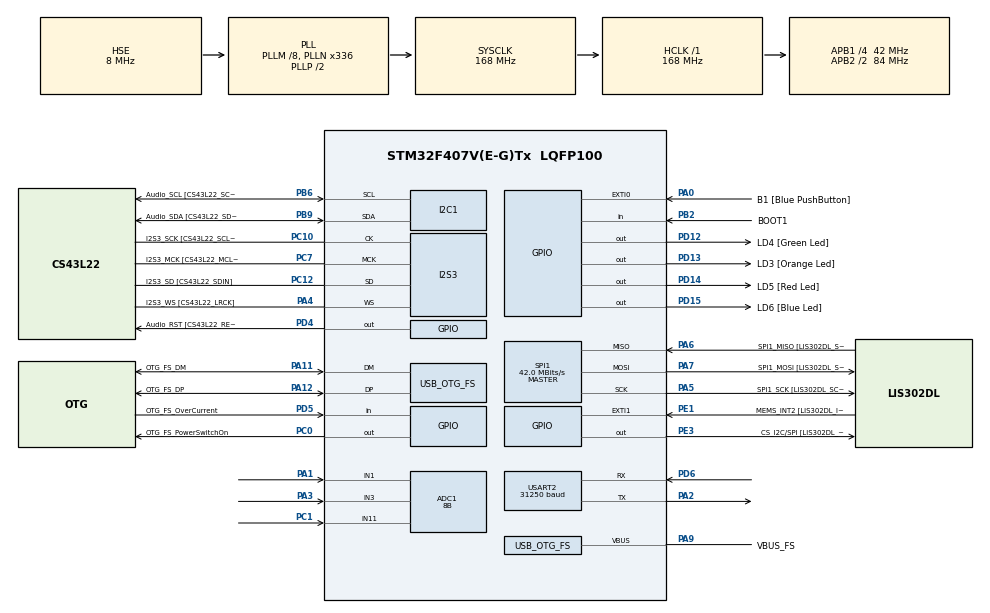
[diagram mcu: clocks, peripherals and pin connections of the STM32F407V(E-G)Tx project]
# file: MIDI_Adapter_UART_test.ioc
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ADC1.Channel-0\#ChannelRegularConversion=ADC_CHANNEL_1
ADC1.Channel-1\#ChannelRegularConversion=ADC_CHANNEL_3
ADC1.Channel-2\#ChannelRegularConversion=ADC_CHANNEL_11
ADC1.ContinuousConvMode=DISABLE
ADC1.NbrOfConversion=3
ADC1.NbrOfConversionFlag=1
ADC1.Rank-0\#ChannelRegularConversion=1
ADC1.Rank-1\#ChannelRegularConversion=2
ADC1.Rank-2\#ChannelRegularConversion=3
ADC1.Resolution=ADC_RESOLUTION_8B
ADC1.SamplingTime-0\#ChannelRegularConversion=ADC_SAMPLETIME_84CYCLES
ADC1.SamplingTime-1\#ChannelRegularConversion=ADC_SAMPLETIME_84CYCLES
ADC1.SamplingTime-2\#ChannelRegularConversion=ADC_SAMPLETIME_84CYCLES
ADC1.ScanConvMode=ENABLE
ADC1.master=1
Dma.ADC1.1.Direction=DMA_PERIPH_TO_MEMORY
Dma.ADC1.1.FIFOMode=DMA_FIFOMODE_DISABLE
Dma.ADC1.1.Instance=DMA2_Stream0
Dma.ADC1.1.MemDataAlignment=DMA_MDATAALIGN_HALFWORD
Dma.ADC1.1.MemInc=DMA_MINC_ENABLE
Dma.ADC1.1.Mode=DMA_CIRCULAR
Dma.ADC1.1.PeriphDataAlignment=DMA_PDATAALIGN_HALFWORD
Dma.ADC1.1.PeriphInc=DMA_PINC_DISABLE
Dma.ADC1.1.Priority=DMA_PRIORITY_LOW
Dma.Request0=SPI3_TX
Dma.Request1=ADC1
Dma.Request2=USART2_RX
Dma.SPI3_TX.0.Direction=DMA_MEMORY_TO_PERIPH
Dma.SPI3_TX.0.FIFOMode=DMA_FIFOMODE_DISABLE
Dma.SPI3_TX.0.Instance=DMA1_Stream7
Dma.SPI3_TX.0.MemDataAlignment=DMA_MDATAALIGN_HALFWORD
Dma.SPI3_TX.0.MemInc=DMA_MINC_ENABLE
Dma.SPI3_TX.0.Mode=DMA_CIRCULAR
Dma.SPI3_TX.0.PeriphDataAlignment=DMA_PDATAALIGN_HALFWORD
Dma.SPI3_TX.0.PeriphInc=DMA_PINC_DISABLE
Dma.SPI3_TX.0.Priority=DMA_PRIORITY_VERY_HIGH
Dma.USART2_RX.2.Direction=DMA_PERIPH_TO_MEMORY
Dma.USART2_RX.2.FIFOMode=DMA_FIFOMODE_DISABLE
Dma.USART2_RX.2.Instance=DMA1_Stream5
Dma.USART2_RX.2.MemDataAlignment=DMA_MDATAALIGN_BYTE
Dma.USART2_RX.2.MemInc=DMA_MINC_ENABLE
Dma.USART2_RX.2.Mode=DMA_CIRCULAR
Dma.USART2_RX.2.PeriphDataAlignment=DMA_PDATAALIGN_BYTE
Dma.USART2_RX.2.PeriphInc=DMA_PINC_DISABLE
Dma.USART2_RX.2.Priority=DMA_PRIORITY_LOW
I2S3.AudioFreq=I2S_AUDIOFREQ_48K
I2S3.AudioFreq-Half_Duplex_Master=I2S_AUDIOFREQ_96K
I2S3.ErrorAudioFreq=0.19 %
I2S3.ErrorAudioFreq-Half_Duplex_Master=0.8 %
I2S3.FullDuplexMode=I2S_FULLDUPLEXMODE_DISABLE
I2S3.Instance=SPI$Index
I2S3.RealAudioFreq=48.095 KHz
I2S3.RealAudioFreq-Half_Duplex_Master=96.774 KHz
I2S3.VirtualMode=I2S_MODE_MASTER
Mcu.Family=STM32F4
Mcu.Name=STM32F407V(E-G)Tx
Mcu.Package=LQFP100
NVIC.ADC_IRQn=true\:1\:0\:true\:false\:true\:true\:true\:true
NVIC.DMA1_Stream5_IRQn=true\:0\:0\:true\:false\:true\:false\:true\:true
NVIC.DMA1_Stream7_IRQn=true\:0\:0\:false\:false\:true\:false\:true\:true
NVIC.DMA2_Stream0_IRQn=true\:0\:0\:false\:false\:true\:false\:true\:true
NVIC.OTG_FS_IRQn=true\:0\:0\:false\:false\:true\:true\:true\:true
NVIC.PriorityGroup=NVIC_PRIORITYGROUP_4
NVIC.SPI3_IRQn=true\:0\:0\:false\:false\:true\:true\:true\:true
PA0-WKUP.GPIO_Label=B1 [Blue PushButton]
PA0-WKUP.GPIO_ModeDefaultEXTI=GPIO_MODE_EVT_RISING
PA0-WKUP.GPIO_PuPd=GPIO_NOPULL
PA0-WKUP.Signal=GPXTI0
PA1.Signal=ADCx_IN1
PA10.GPIO_Label=OTG_FS_ID
PA10.GPIO_Mode=GPIO_MODE_AF_PP
PA10.GPIO_PuPd=GPIO_NOPULL
PA10.GPIO_Speed=GPIO_SPEED_FREQ_LOW
PA10.Signal=USB_OTG_FS_ID
PA11.GPIO_Label=OTG_FS_DM
PA11.GPIO_Mode=GPIO_MODE_AF_PP
PA11.GPIO_PuPd=GPIO_NOPULL
PA11.GPIO_Speed=GPIO_SPEED_FREQ_LOW
PA11.Mode=Device_Only
PA11.Signal=USB_OTG_FS_DM
PA12.GPIO_Label=OTG_FS_DP
PA12.GPIO_Mode=GPIO_MODE_AF_PP
PA12.GPIO_PuPd=GPIO_NOPULL
PA12.GPIO_Speed=GPIO_SPEED_FREQ_LOW
PA12.Mode=Device_Only
PA12.Signal=USB_OTG_FS_DP
PA13.GPIO_Label=SWDIO
PA13.Mode=Trace_Asynchronous_SW
PA13.Signal=SYS_JTMS-SWDIO
PA14.GPIO_Label=SWCLK
PA14.Mode=Trace_Asynchronous_SW
PA14.Signal=SYS_JTCK-SWCLK
PA2.Mode=Asynchronous
PA2.Signal=USART2_TX
PA3.Signal=ADCx_IN3
PA4.GPIO_Label=I2S3_WS [CS43L22_LRCK]
PA4.GPIO_Mode=GPIO_MODE_AF_PP
PA4.GPIO_PuPd=GPIO_NOPULL
PA4.GPIO_Speed=GPIO_SPEED_FREQ_LOW
PA4.Mode=Half_Duplex_Master
PA4.Signal=I2S3_WS
PA5.GPIO_Label=SPI1_SCK [LIS302DL_SCL/SPC]
PA5.GPIO_Mode=GPIO_MODE_AF_PP
PA5.GPIO_PuPd=GPIO_NOPULL
PA5.GPIO_Speed=GPIO_SPEED_FREQ_LOW
PA5.Mode=Full_Duplex_Master
PA5.Signal=SPI1_SCK
PA6.GPIO_Label=SPI1_MISO [LIS302DL_SDO]
PA6.GPIO_Mode=GPIO_MODE_AF_PP
PA6.GPIO_PuPd=GPIO_NOPULL
PA6.GPIO_Speed=GPIO_SPEED_FREQ_LOW
PA6.Mode=Full_Duplex_Master
PA6.Signal=SPI1_MISO
PA7.GPIO_Label=SPI1_MOSI [LIS302DL_SDA/SDI/SDO]
PA7.GPIO_Mode=GPIO_MODE_AF_PP
PA7.GPIO_PuPd=GPIO_NOPULL
PA7.GPIO_Speed=GPIO_SPEED_FREQ_LOW
PA7.Mode=Full_Duplex_Master
PA7.Signal=SPI1_MOSI
PA9.GPIO_Label=VBUS_FS
PA9.GPIO_Mode=GPIO_MODE_INPUT
PA9.GPIO_PuPd=GPIO_NOPULL
PA9.Mode=Activate_VBUS
PA9.Signal=USB_OTG_FS_VBUS
PB10.GPIO_Label=CLK_IN [MP45DT02_CLK]
PB10.GPIO_Mode=GPIO_MODE_AF_PP
PB10.GPIO_PuPd=GPIO_NOPULL
PB10.GPIO_Speed=GPIO_SPEED_FREQ_LOW
PB10.Signal=I2S2_CK
PB2.GPIO_Label=BOOT1
PB2.GPIO_Mode=GPIO_MODE_INPUT
PB2.GPIO_PuPd=GPIO_NOPULL
PB2.Signal=GPIO_Input
PB3.GPIO_Label=SWO
PB3.Mode=Trace_Asynchronous_SW
PB3.Signal=SYS_JTDO-SWO
PB6.GPIO_Label=Audio_SCL [CS43L22_SCL]
PB6.GPIO_Mode=GPIO_MODE_AF_OD
PB6.GPIO_Pu=GPIO_PULLUP
PB6.GPIO_PuPd=GPIO_NOPULL
PB6.GPIO_Speed=GPIO_SPEED_FREQ_LOW
PB6.Mode=I2C
PB6.Signal=I2C1_SCL
PB9.GPIO_Label=Audio_SDA [CS43L22_SDA]
PB9.GPIO_Mode=GPIO_MODE_AF_OD
PB9.GPIO_Pu=GPIO_PULLUP
PB9.GPIO_PuPd=GPIO_NOPULL
PB9.GPIO_Speed=GPIO_SPEED_FREQ_LOW
PB9.Mode=I2C
PB9.Signal=I2C1_SDA
PC0.GPIO_Label=OTG_FS_PowerSwitchOn
PC0.GPIO_PuPd=GPIO_NOPULL
PC0.GPIO_Speed=GPIO_SPEED_FREQ_LOW
PC0.PinState=GPIO_PIN_SET
PC0.Signal=GPIO_Output
PC1.Signal=ADCx_IN11
PC10.GPIO_Label=I2S3_SCK [CS43L22_SCLK]
PC10.GPIO_Mode=GPIO_MODE_AF_PP
PC10.GPIO_PuPd=GPIO_NOPULL
PC10.GPIO_Speed=GPIO_SPEED_FREQ_LOW
PC10.Mode=Half_Duplex_Master
PC10.Signal=I2S3_CK
PC12.GPIO_Label=I2S3_SD [CS43L22_SDIN]
PC12.GPIO_Mode=GPIO_MODE_AF_PP
PC12.GPIO_PuPd=GPIO_NOPULL
PC12.GPIO_Speed=GPIO_SPEED_FREQ_LOW
PC12.Mode=Half_Duplex_Master
PC12.Signal=I2S3_SD
PC14-OSC32_IN.GPIO_Label=PC14-OSC32_IN
PC14-OSC32_IN.Mode=LSE-External-Oscillator
PC14-OSC32_IN.Signal=RCC_OSC32_IN
PC15-OSC32_OUT.GPIO_Label=PC15-OSC32_OUT
PC15-OSC32_OUT.Mode=LSE-External-Oscillator
PC15-OSC32_OUT.Signal=RCC_OSC32_OUT
PC3.GPIO_Label=PDM_OUT [MP45DT02_DOUT]
PC3.GPIO_Mode=GPIO_MODE_AF_PP
PC3.GPIO_PuPd=GPIO_NOPULL
PC3.GPIO_Speed=GPIO_SPEED_FREQ_LOW
PC3.Signal=I2S2_SD
PC7.GPIO_Label=I2S3_MCK [CS43L22_MCLK]
PC7.GPIO_Mode=GPIO_MODE_AF_PP
PC7.GPIO_PuPd=GPIO_NOPULL
PC7.GPIO_Speed=GPIO_SPEED_FREQ_LOW
PC7.Mode=Master_Clock_Activated
PC7.Signal=I2S3_MCK
PD12.GPIO_Label=LD4 [Green Led]
PD12.GPIO_PuPd=GPIO_NOPULL
PD12.GPIO_Speed=GPIO_SPEED_FREQ_LOW
PD12.Signal=GPIO_Output
PD13.GPIO_Label=LD3 [Orange Led]
PD13.GPIO_PuPd=GPIO_NOPULL
PD13.GPIO_Speed=GPIO_SPEED_FREQ_LOW
PD13.Signal=GPIO_Output
PD14.GPIO_Label=LD5 [Red Led]
PD14.GPIO_PuPd=GPIO_NOPULL
PD14.GPIO_Speed=GPIO_SPEED_FREQ_LOW
PD14.Signal=GPIO_Output
PD15.GPIO_Label=LD6 [Blue Led]
PD15.GPIO_PuPd=GPIO_NOPULL
PD15.GPIO_Speed=GPIO_SPEED_FREQ_LOW
PD15.Signal=GPIO_Output
PD2.Signal=UART5_RX
PD4.GPIO_Label=Audio_RST [CS43L22_RESET]
PD4.GPIO_PuPd=GPIO_PULLUP
PD4.GPIO_Speed=GPIO_SPEED_FREQ_LOW
PD4.Signal=GPIO_Output
PD5.GPIO_Label=OTG_FS_OverCurrent
PD5.GPIO_Mode=GPIO_MODE_INPUT
PD5.GPIO_PuPd=GPIO_NOPULL
PD5.Signal=GPIO_Input
PD6.Mode=Asynchronous
PD6.Signal=USART2_RX
PE1.GPIO_Label=MEMS_INT2 [LIS302DL_INT2]
PE1.GPIO_ModeDefaultEXTI=GPIO_MODE_EVT_RISING
PE1.GPIO_PuPd=GPIO_NOPULL
PE1.Signal=GPXTI1
PE3.GPIO_Label=CS_I2C/SPI [LIS302DL_CS_I2C/SPI]
PE3.GPIO_PuPd=GPIO_NOPULL
PE3.GPIO_Speed=GPIO_SPEED_FREQ_LOW
PE3.Signal=GPIO_Output
PH0-OSC_IN.GPIO_Label=PH0-OSC_IN
PH0-OSC_IN.Mode=HSE-External-Oscillator
PH0-OSC_IN.Signal=RCC_OSC_IN
PH1-OSC_OUT.GPIO_Label=PH1-OSC_OUT
PH1-OSC_OUT.Mode=HSE-External-Oscillator
PH1-OSC_OUT.Signal=RCC_OSC_OUT
ProjectManager.HeapSize=0x200
ProjectManager.StackSize=0x400
ProjectManager.TargetToolchain=STM32CubeIDE
RCC.48MHZClocksFreq_Value=48000000
RCC.AHBFreq_Value=168000000
RCC.APB1CLKDivider=RCC_HCLK_DIV4
RCC.APB1Freq_Value=42000000
RCC.APB1TimFreq_Value=84000000
RCC.APB2CLKDivider=RCC_HCLK_DIV2
RCC.APB2Freq_Value=84000000
RCC.APB2TimFreq_Value=168000000
RCC.CortexFreq_Value=168000000
RCC.HCLKFreq_Value=168000000
RCC.HSE_VALUE=8000000
RCC.HSI_VALUE=16000000
RCC.PLLI2SN=197
RCC.PLLM=8
RCC.PLLN=336
RCC.PLLQ=7
RCC.SYSCLKFreq_VALUE=168000000
RCC.SYSCLKSource=RCC_SYSCLKSOURCE_PLLCLK
RCC.VCOOutputFreq_Value=336000000
SH.ADCx_IN1.0=ADC1_IN1,IN1
SH.ADCx_IN11.0=ADC1_IN11,IN11
SH.ADCx_IN3.0=ADC1_IN3,IN3
SPI1.BaudRatePrescaler=SPI_BAUDRATEPRESCALER_2
SPI1.BaudRatePrescaler-Full_Duplex_Master=SPI_BAUDRATEPRESCALER_2
SPI1.CalculateBaudRate=42.0 MBits/s
SPI1.CalculateBaudRate-Full_Duplex_Master=42.0 MBits/s
SPI1.Direction=SPI_DIRECTION_2LINES
SPI1.Mode=SPI_MODE_MASTER
SPI1.Mode-Full_Duplex_Master=SPI_MODE_MASTER
SPI1.VirtualType=VM_MASTER
USART2.BaudRate=31250
USART2.VirtualMode=VM_ASYNC
USB_OTG_FS.VirtualMode=Device_Only
board=STM32F407G-DISC1

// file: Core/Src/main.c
/* USER CODE BEGIN Header */
/**
  ******************************************************************************
  * @file           : main.c
  * @brief          : Main program body
  ******************************************************************************
  * @attention
  *
  * Copyright (c) 2025 STMicroelectronics.
  * All rights reserved.
  *
  * This software is licensed under terms that can be found in the LICENSE file
  * in the root directory of this software component.
  * If no LICENSE file comes with this software, it is provided AS-IS.
  *
  ******************************************************************************
  */
/* USER CODE END Header */
#include "main.h"

/* USER CODE BEGIN Includes */
#include <stdio.h>
#include <math.h>   // For fminf, fmaxf

/* USER CODE END Includes */

/* USER CODE BEGIN PD */
#define RX_BUFFER_SIZE 256
#define MIDI_PITCHES_COUNT 128
#define FS 48095.0f //see .ioc see for 48 kHz inaccuracy WAS 48000

typedef struct {
    uint8_t  vel[MIDI_PITCHES_COUNT];            // MIDI standard velocity (0-127) for each pitch
    uint8_t  released[MIDI_PITCHES_COUNT];       // True if the note has been released, false if pressed for each pitch
    uint32_t ticks_pressed[MIDI_PITCHES_COUNT];  // Ticks elapsed since the note was pressed for each pitch
    uint32_t ticks_released[MIDI_PITCHES_COUNT]; // Ticks elapsed since the note was released for each pitch
    float    env[MIDI_PITCHES_COUNT];            // Current envelope level (e.g., 0.0 to 1.0) for each pitch
} Notes; // Renamed to Notes (plural) as it now holds data for multiple notes
/* USER CODE END PD */

ADC_HandleTypeDef hadc1;
DMA_HandleTypeDef hdma_adc1;

I2C_HandleTypeDef hi2c1;

I2S_HandleTypeDef hi2s3;
DMA_HandleTypeDef hdma_spi3_tx;

SPI_HandleTypeDef hspi1;

UART_HandleTypeDef huart2;
DMA_HandleTypeDef hdma_usart2_rx;

PCD_HandleTypeDef hpcd_USB_OTG_FS;

/* USER CODE BEGIN PV */
uint8_t RxUART[RX_BUFFER_SIZE];
volatile uint16_t OldPos = 0;
typedef enum {
    LAST_READ_STATUS,
    LAST_READ_PITCH,
    LAST_READ_VELOCITY,
    LAST_READ_PEDAL,
    LAST_READ_NONE // Good to have an initial/default state
} lastRead_t; // Using a typedef for easier use, and _t suffix is common for enums/structs
lastRead_t currentLastRead = LAST_READ_NONE;
uint8_t inNoteEvent = 0;
uint16_t currentMIDIPitch = 255; //actual values are 0-127
uint16_t MIDIptr = 253;
const int N_voices = 8;  // The number of voices to process

Notes my_midi_notes; // Declare an instance of the Notes struct

/* USER CODE END PV */

void SystemClock_Config(void);
static void MX_GPIO_Init(void);
static void MX_DMA_Init(void);
static void MX_I2C1_Init(void);
static void MX_I2S3_Init(void);
static void MX_SPI1_Init(void);
static void MX_USB_OTG_FS_PCD_Init(void);
static void MX_ADC1_Init(void);
static void MX_USART2_UART_Init(void);

/* USER CODE BEGIN 0 */
void Notes_init(Notes* notes_system) {
    // Loop through all possible MIDI pitches and set their initial state
    for (int i = 0; i < MIDI_PITCHES_COUNT; i++) {
        notes_system->vel[i] = 0;              // No velocity (note off)
        notes_system->released[i] = 0;         //
        notes_system->ticks_pressed[i] = 0;    // No ticks yet
        notes_system->ticks_released[i] = 0;   // No ticks yet
        notes_system->env[i] = 0.0f;           // Envelope at zero
    }
}

void clear_note(Notes* notes_system, uint8_t note_index) {
    // Basic validation to ensure the index is within bounds
    if (note_index < MIDI_PITCHES_COUNT) {
        notes_system->vel[note_index] = 0;              // Set velocity to 0 (note off)
        notes_system->released[note_index] = 0;         //
        notes_system->ticks_pressed[note_index] = 0;    // Reset ticks since pressed
        notes_system->ticks_released[note_index] = 0;   // Reset ticks since released
        notes_system->env[note_index] = 0.0f;           // Reset envelope level to 0.0
    } else {

        // Optional: Add an error handling or logging mechanism if an invalid index is provided
        // For embedded systems, you might have a dedicated error LED, a serial print, or nothing at all
        // depending on your error handling strategy.
        printf(stderr, "Error: clear_note called with invalid note_index: %u\n", note_index);
    }
}

/**
 * @brief Adds (activates) a note in the Notes tracking system with a given pitch and velocity.
 *
 * This function simulates a MIDI "Note On" event. It sets the velocity,
 * marks the note as pressed, and resets relevant envelope/timing parameters
 * for the specified pitch.
 *
 * @param notes_system A pointer to the Notes struct holding the state of all MIDI pitches.
 * @param pitch The MIDI pitch number (0-127) of the note to activate.
 * @param velocity The velocity value (0-127) for the note.
 */
void add_note(Notes* notes_system, uint8_t pitch, uint8_t velocity) {
    // Basic validation for the pitch
    if (notes_system == NULL) {
        printf("Error: NULL Notes system pointer passed to add_note.\r\n");
        return;
    }
    if (pitch >= MIDI_PITCHES_COUNT) {
        printf("Error: add_note called with invalid pitch: %u (max %u)\r\n", pitch, MIDI_PITCHES_COUNT - 1);
        return;
    }

    // A velocity of 0 is typically interpreted as a "Note Off" event.
    // While this function is named "add_note", it's good practice to handle
    // velocity 0 either by calling clear_note or just returning.
    if (velocity == 0) {
        // If velocity is 0, treat it as a note off (set released flag)
        // or clear the note entirely. For simplicity here, we'll mark it released
        // and let updateNoteEnvelope handle the decay.
        notes_system->released[pitch] = 1;
        // Don't actually set the vel[pitch] to 0! That variable tracks what was :')
        return;
    }

    // Set the velocity for the specified pitch
    notes_system->vel[pitch] = velocity;
    // Mark the note as pressed (not released)
    notes_system->released[pitch] = 0;
    // Reset ticks related to pressing/releasing for a new press
    notes_system->ticks_pressed[pitch] = 0;
    notes_system->ticks_released[pitch] = 0; // Not applicable for a pressed note
    // Reset envelope to 0.0f, as it will start its attack phase
    notes_system->env[pitch] = 0.0f;
}

/**
 * @brief Updates the envelope level for active notes within the Notes tracking system.
 *
 * This function iterates over the `Notes` arrays from highest to lowest pitch.
 * For the first N_voices (where velocity is not 0), it applies the ADSR envelope logic
 * (simplified to AD-Release here) to update the 'env' level for that specific note.
 *
 * @param notes_system A pointer to the Notes struct holding the state of all MIDI pitches.
 * @param attack_time_sec The duration of the attack phase in seconds.
 * @param decay_k The exponential decay factor for the decay phase (0.0 to 1.0, typically < 1.0).
 * @param release_k The exponential release factor for the release phase (0.0 to 1.0, typically < 1.0).
 */
void updateNoteEnvelope(Notes* notes_system, float attack_time_sec, float decay_k, float release_k) {
    // Ensure notes_system is not NULL
    if (notes_system == NULL) {
        printf("Error: NULL Notes system pointer passed to updateNoteEnvelope.\r\n");
        return;
    }

    // Calculate attack duration in ticks (common for all notes)
    // Ensure FS is not zero to prevent division by zero in attack_increment_per_tick
    float attack_duration_ticks = (FS > 0.0f) ? (attack_time_sec * FS) : 1.0f; // Prevent div by zero if FS is 0

    int voices_processed = 0; // Counter for active voices processed

    // Iterate over the arrays in descending pitch order
    for (int pitch = MIDI_PITCHES_COUNT - 1; pitch >= 0; pitch--) {
        // Only process notes that have velocity (are "on") and we haven't hit N_voices limit
        if (notes_system->vel[pitch] != 0) {
            // We only care about the first N_voices with non-zero velocity
            if (voices_processed >= N_voices) {
                // If this note is still active (not released and velocity > 0)
                // but we've already hit our voice limit, we might want to
                // consider stopping its envelope or giving it a very fast release.
                // For this implementation, we'll just skip it for envelope processing
                // if it's beyond N_voices and has velocity.
                // However, if it's already in release phase, we *should* continue processing it
                // until its envelope decays to 0. So, we adjust the condition here.
//                if (notes_system->released[pitch] == 0) { // If it's a *pressed* note beyond N_voices
//                    continue; // Skip processing its envelope as it's not a primary voice
//                }
                // If it's a released note (vel!=0, but released==1), we still process it
                // to allow its envelope to decay, regardless of N_voices.
                // The N_voices limit primarily applies to "active, pressed" notes.
            }

            // Check if the note is currently pressed (not released)
            if (notes_system->released[pitch] == 0) {
                notes_system->ticks_pressed[pitch]++; // Increment ticks since press

                // Attack Phase: if ticks_pressed is within the attack duration
                if (notes_system->ticks_pressed[pitch] <= attack_duration_ticks) {
                    // Calculate the linear increment per tick
                    if (attack_duration_ticks > 0.0f) {
                        float attack_increment_per_tick = 1.0f / attack_duration_ticks;
                        notes_system->env[pitch] += attack_increment_per_tick;
                    } else { // Instant attack
                        notes_system->env[pitch] = 1.0f;
                    }
                    // Clip the envelope level at 1.0 (maximum)
                    notes_system->env[pitch] = fminf(notes_system->env[pitch], 1.0f);
                }
                // Decay Phase: if attack is finished and note is still pressed
                else {
                    notes_system->env[pitch] *= decay_k;
                    // Ensure envelope doesn't go below 0 due to floating point inaccuracies
                    notes_system->env[pitch] = fmaxf(notes_system->env[pitch], 0.0f);
                }

                // Only increment voices_processed for currently pressed notes
                voices_processed++;

            } else { // If the note has been released (notes_system->released[pitch] == 1)
                notes_system->ticks_released[pitch]++; // Increment ticks since release
                // Release Phase: apply release scalar
                notes_system->env[pitch] *= release_k;
                // Ensure envelope doesn't go below 0
                notes_system->env[pitch] = fmaxf(notes_system->env[pitch], 0.0f);
            }

            // After envelope processing, if the envelope has decayed to near zero,
            // and the note is released, we can "turn off" the note entirely
            // by setting its velocity to 0 and clearing its state.
            // This is crucial for managing polyphony and avoiding processing
            // completely silent, released notes indefinitely.
            if (notes_system->env[pitch] < 0.001f && notes_system->released[pitch] == 1) {
                // Call your clear_note function here if you have one
                // clear_note(notes_system, pitch); // Assuming clear_note sets vel to 0, released to 1, etc.
                // If you don't have clear_note, you'd do:
                notes_system->vel[pitch] = 0;
                notes_system->ticks_pressed[pitch] = 0;
                notes_system->ticks_released[pitch] = 0;
                notes_system->env[pitch] = 0.0f; // Ensure it's exactly zero
                notes_system->released[pitch] = 0.0f; // Set released to 0 so that the next instance is ready.
            }
        }
    }
}

void ParseMIDI(uint8_t* data, uint16_t length) {
	int did_something = 0;
	uint8_t byte;
	for (uint16_t i = 0; i < length; i++) {
		byte = data[i];
		if (byte != 254) {

			did_something = 1;
			// Status byte if MSB = 1
			if ((byte >> 7) & 0x01) {
				// if MS Nybble is 0x9, Note On command
				currentLastRead = LAST_READ_STATUS;
				if ((byte >> 4) == 0x9) {
					//inNoteEvent = 1;
					printf("ON ");
				}
				else if ((byte >> 4) == 0x8) {
					//inNoteEvent = 0;
					printf("OFF ");
				}
			}
			// Data byte if MSB = 0
			else {
				if ((currentLastRead == LAST_READ_STATUS)) {
					currentLastRead = LAST_READ_PITCH;
					MIDIptr = byte;
					printf("note %02X ", byte);
				}
				else if (currentLastRead == LAST_READ_PITCH) {
					currentLastRead = LAST_READ_VELOCITY;
					if (byte == 0) {
						inNoteEvent = 0;
						clear_note(&my_midi_notes, currentMIDIPitch);
					}
					else {
						currentMIDIPitch = MIDIptr;
						add_note(&my_midi_notes, currentMIDIPitch, byte);
					}
					printf("vel %02X ", byte);
				}
				else if (currentLastRead == LAST_READ_VELOCITY) {
					currentLastRead = LAST_READ_PITCH;
					MIDIptr = byte;
					printf("note %02X ", byte);
				}
			}
		}
	}
	if (did_something) {
		HAL_GPIO_TogglePin(GPIOD, LD3_Pin);
		printf("\r\n");
	}

}

void ReadRxBuffer() {
	uint16_t pos = RX_BUFFER_SIZE - __HAL_DMA_GET_COUNTER(&hdma_usart2_rx);
	if (pos != OldPos) {
		if (pos > OldPos) {
			// Data is contiguous
			ParseMIDI(&RxUART[OldPos], pos - OldPos);
		}
		else {
			// Data loops around
			ParseMIDI(&RxUART[OldPos], RX_BUFFER_SIZE - OldPos);
			ParseMIDI(&RxUART[0], pos);
		}
		OldPos = pos;
	}
}

/* USER CODE END 0 */

int main(void)
{

  /* MCU Configuration--------------------------------------------------------*/

  /* Reset of all peripherals, Initializes the Flash interface and the Systick. */
  HAL_Init();

  /* Configure the system clock */
  SystemClock_Config();

  /* Initialize all configured peripherals */
  MX_GPIO_Init();
  MX_DMA_Init();
  MX_I2C1_Init();
  MX_I2S3_Init();
  MX_SPI1_Init();
  MX_USB_OTG_FS_PCD_Init();
  MX_ADC1_Init();
  MX_USART2_UART_Init();
  /* USER CODE BEGIN 2 */
  printf("Hello world!\r\n");

  Notes_init(&my_midi_notes); // Initialize the entire system

  HAL_UART_Receive_DMA(&huart2, RxUART, RX_BUFFER_SIZE);

  /* USER CODE END 2 */

  /* Infinite loop */
  while (1)
  {

    /* USER CODE BEGIN 3 */

	  HAL_Delay(2);
	  HAL_GPIO_TogglePin(GPIOD, LD4_Pin);
	  ReadRxBuffer();

  }
  /* USER CODE END 3 */
}

void SystemClock_Config(void)
{
  RCC_OscInitTypeDef RCC_OscInitStruct = {0};
  RCC_ClkInitTypeDef RCC_ClkInitStruct = {0};

  /** Configure the main internal regulator output voltage
  */
  __HAL_RCC_PWR_CLK_ENABLE();
  __HAL_PWR_VOLTAGESCALING_CONFIG(PWR_REGULATOR_VOLTAGE_SCALE1);

  /** Initializes the RCC Oscillators according to the specified parameters
  * in the RCC_OscInitTypeDef structure.
  */
  RCC_OscInitStruct.OscillatorType = RCC_OSCILLATORTYPE_HSE;
  RCC_OscInitStruct.HSEState = RCC_HSE_ON;
  RCC_OscInitStruct.PLL.PLLState = RCC_PLL_ON;
  RCC_OscInitStruct.PLL.PLLSource = RCC_PLLSOURCE_HSE;
  RCC_OscInitStruct.PLL.PLLM = 8;
  RCC_OscInitStruct.PLL.PLLN = 336;
  RCC_OscInitStruct.PLL.PLLP = RCC_PLLP_DIV2;
  RCC_OscInitStruct.PLL.PLLQ = 7;
  if (HAL_RCC_OscConfig(&RCC_OscInitStruct) != HAL_OK)
  {
    Error_Handler();
  }

  /** Initializes the CPU, AHB and APB buses clocks
  */
  RCC_ClkInitStruct.ClockType = RCC_CLOCKTYPE_HCLK|RCC_CLOCKTYPE_SYSCLK
                              |RCC_CLOCKTYPE_PCLK1|RCC_CLOCKTYPE_PCLK2;
  RCC_ClkInitStruct.SYSCLKSource = RCC_SYSCLKSOURCE_PLLCLK;
  RCC_ClkInitStruct.AHBCLKDivider = RCC_SYSCLK_DIV1;
  RCC_ClkInitStruct.APB1CLKDivider = RCC_HCLK_DIV4;
  RCC_ClkInitStruct.APB2CLKDivider = RCC_HCLK_DIV2;

  if (HAL_RCC_ClockConfig(&RCC_ClkInitStruct, FLASH_LATENCY_5) != HAL_OK)
  {
    Error_Handler();
  }
}

static void MX_ADC1_Init(void)
{

  ADC_ChannelConfTypeDef sConfig = {0};

  /** Configure the global features of the ADC (Clock, Resolution, Data Alignment and number of conversion)
  */
  hadc1.Instance = ADC1;
  hadc1.Init.ClockPrescaler = ADC_CLOCK_SYNC_PCLK_DIV4;
  hadc1.Init.Resolution = ADC_RESOLUTION_8B;
  hadc1.Init.ScanConvMode = ENABLE;
  hadc1.Init.ContinuousConvMode = DISABLE;
  hadc1.Init.DiscontinuousConvMode = DISABLE;
  hadc1.Init.ExternalTrigConvEdge = ADC_EXTERNALTRIGCONVEDGE_NONE;
  hadc1.Init.ExternalTrigConv = ADC_SOFTWARE_START;
  hadc1.Init.DataAlign = ADC_DATAALIGN_RIGHT;
  hadc1.Init.NbrOfConversion = 3;
  hadc1.Init.DMAContinuousRequests = DISABLE;
  hadc1.Init.EOCSelection = ADC_EOC_SINGLE_CONV;
  if (HAL_ADC_Init(&hadc1) != HAL_OK)
  {
    Error_Handler();
  }

  /** Configure for the selected ADC regular channel its corresponding rank in the sequencer and its sample time.
  */
  sConfig.Channel = ADC_CHANNEL_1;
  sConfig.Rank = 1;
  sConfig.SamplingTime = ADC_SAMPLETIME_84CYCLES;
  if (HAL_ADC_ConfigChannel(&hadc1, &sConfig) != HAL_OK)
  {
    Error_Handler();
  }

  /** Configure for the selected ADC regular channel its corresponding rank in the sequencer and its sample time.
  */
  sConfig.Channel = ADC_CHANNEL_3;
  sConfig.Rank = 2;
  if (HAL_ADC_ConfigChannel(&hadc1, &sConfig) != HAL_OK)
  {
    Error_Handler();
  }

  /** Configure for the selected ADC regular channel its corresponding rank in the sequencer and its sample time.
  */
  sConfig.Channel = ADC_CHANNEL_11;
  sConfig.Rank = 3;
  if (HAL_ADC_ConfigChannel(&hadc1, &sConfig) != HAL_OK)
  {
    Error_Handler();
  }

}

static void MX_I2C1_Init(void)
{

  hi2c1.Instance = I2C1;
  hi2c1.Init.ClockSpeed = 100000;
  hi2c1.Init.DutyCycle = I2C_DUTYCYCLE_2;
  hi2c1.Init.OwnAddress1 = 0;
  hi2c1.Init.AddressingMode = I2C_ADDRESSINGMODE_7BIT;
  hi2c1.Init.DualAddressMode = I2C_DUALADDRESS_DISABLE;
  hi2c1.Init.OwnAddress2 = 0;
  hi2c1.Init.GeneralCallMode = I2C_GENERALCALL_DISABLE;
  hi2c1.Init.NoStretchMode = I2C_NOSTRETCH_DISABLE;
  if (HAL_I2C_Init(&hi2c1) != HAL_OK)
  {
    Error_Handler();
  }

}

static void MX_I2S3_Init(void)
{

  hi2s3.Instance = SPI3;
  hi2s3.Init.Mode = I2S_MODE_MASTER_TX;
  hi2s3.Init.Standard = I2S_STANDARD_PHILIPS;
  hi2s3.Init.DataFormat = I2S_DATAFORMAT_16B;
  hi2s3.Init.MCLKOutput = I2S_MCLKOUTPUT_ENABLE;
  hi2s3.Init.AudioFreq = I2S_AUDIOFREQ_48K;
  hi2s3.Init.CPOL = I2S_CPOL_LOW;
  hi2s3.Init.ClockSource = I2S_CLOCK_PLL;
  hi2s3.Init.FullDuplexMode = I2S_FULLDUPLEXMODE_DISABLE;
  if (HAL_I2S_Init(&hi2s3) != HAL_OK)
  {
    Error_Handler();
  }

}

static void MX_SPI1_Init(void)
{

  /* SPI1 parameter configuration*/
  hspi1.Instance = SPI1;
  hspi1.Init.Mode = SPI_MODE_MASTER;
  hspi1.Init.Direction = SPI_DIRECTION_2LINES;
  hspi1.Init.DataSize = SPI_DATASIZE_8BIT;
  hspi1.Init.CLKPolarity = SPI_POLARITY_LOW;
  hspi1.Init.CLKPhase = SPI_PHASE_1EDGE;
  hspi1.Init.NSS = SPI_NSS_SOFT;
  hspi1.Init.BaudRatePrescaler = SPI_BAUDRATEPRESCALER_2;
  hspi1.Init.FirstBit = SPI_FIRSTBIT_MSB;
  hspi1.Init.TIMode = SPI_TIMODE_DISABLE;
  hspi1.Init.CRCCalculation = SPI_CRCCALCULATION_DISABLE;
  hspi1.Init.CRCPolynomial = 10;
  if (HAL_SPI_Init(&hspi1) != HAL_OK)
  {
    Error_Handler();
  }

}

static void MX_USART2_UART_Init(void)
{

  huart2.Instance = USART2;
  huart2.Init.BaudRate = 31250;
  huart2.Init.WordLength = UART_WORDLENGTH_8B;
  huart2.Init.StopBits = UART_STOPBITS_1;
  huart2.Init.Parity = UART_PARITY_NONE;
  huart2.Init.Mode = UART_MODE_TX_RX;
  huart2.Init.HwFlowCtl = UART_HWCONTROL_NONE;
  huart2.Init.OverSampling = UART_OVERSAMPLING_16;
  if (HAL_UART_Init(&huart2) != HAL_OK)
  {
    Error_Handler();
  }

}

static void MX_USB_OTG_FS_PCD_Init(void)
{

  hpcd_USB_OTG_FS.Instance = USB_OTG_FS;
  hpcd_USB_OTG_FS.Init.dev_endpoints = 4;
  hpcd_USB_OTG_FS.Init.speed = PCD_SPEED_FULL;
  hpcd_USB_OTG_FS.Init.dma_enable = DISABLE;
  hpcd_USB_OTG_FS.Init.phy_itface = PCD_PHY_EMBEDDED;
  hpcd_USB_OTG_FS.Init.Sof_enable = DISABLE;
  hpcd_USB_OTG_FS.Init.low_power_enable = DISABLE;
  hpcd_USB_OTG_FS.Init.lpm_enable = DISABLE;
  hpcd_USB_OTG_FS.Init.vbus_sensing_enable = ENABLE;
  hpcd_USB_OTG_FS.Init.use_dedicated_ep1 = DISABLE;
  if (HAL_PCD_Init(&hpcd_USB_OTG_FS) != HAL_OK)
  {
    Error_Handler();
  }

}

static void MX_DMA_Init(void)
{

  /* DMA controller clock enable */
  __HAL_RCC_DMA1_CLK_ENABLE();
  __HAL_RCC_DMA2_CLK_ENABLE();

  /* DMA interrupt init */
  /* DMA1_Stream5_IRQn interrupt configuration */
  HAL_NVIC_SetPriority(DMA1_Stream5_IRQn, 0, 0);
  HAL_NVIC_EnableIRQ(DMA1_Stream5_IRQn);
  /* DMA1_Stream7_IRQn interrupt configuration */
  HAL_NVIC_SetPriority(DMA1_Stream7_IRQn, 0, 0);
  HAL_NVIC_EnableIRQ(DMA1_Stream7_IRQn);
  /* DMA2_Stream0_IRQn interrupt configuration */
  HAL_NVIC_SetPriority(DMA2_Stream0_IRQn, 0, 0);
  HAL_NVIC_EnableIRQ(DMA2_Stream0_IRQn);

}

static void MX_GPIO_Init(void)
{
  GPIO_InitTypeDef GPIO_InitStruct = {0};

  /* GPIO Ports Clock Enable */
  __HAL_RCC_GPIOE_CLK_ENABLE();
  __HAL_RCC_GPIOC_CLK_ENABLE();
  __HAL_RCC_GPIOH_CLK_ENABLE();
  __HAL_RCC_GPIOA_CLK_ENABLE();
  __HAL_RCC_GPIOB_CLK_ENABLE();
  __HAL_RCC_GPIOD_CLK_ENABLE();

  /*Configure GPIO pin Output Level */
  HAL_GPIO_WritePin(CS_I2C_SPI_GPIO_Port, CS_I2C_SPI_Pin, GPIO_PIN_RESET);

  /*Configure GPIO pin Output Level */
  HAL_GPIO_WritePin(OTG_FS_PowerSwitchOn_GPIO_Port, OTG_FS_PowerSwitchOn_Pin, GPIO_PIN_SET);

  /*Configure GPIO pin Output Level */
  HAL_GPIO_WritePin(GPIOD, LD4_Pin|LD3_Pin|LD5_Pin|LD6_Pin
                          |Audio_RST_Pin, GPIO_PIN_RESET);

  /*Configure GPIO pin : CS_I2C_SPI_Pin */
  GPIO_InitStruct.Pin = CS_I2C_SPI_Pin;
  GPIO_InitStruct.Mode = GPIO_MODE_OUTPUT_PP;
  GPIO_InitStruct.Pull = GPIO_NOPULL;
  GPIO_InitStruct.Speed = GPIO_SPEED_FREQ_LOW;
  HAL_GPIO_Init(CS_I2C_SPI_GPIO_Port, &GPIO_InitStruct);

  /*Configure GPIO pin : OTG_FS_PowerSwitchOn_Pin */
  GPIO_InitStruct.Pin = OTG_FS_PowerSwitchOn_Pin;
  GPIO_InitStruct.Mode = GPIO_MODE_OUTPUT_PP;
  GPIO_InitStruct.Pull = GPIO_NOPULL;
  GPIO_InitStruct.Speed = GPIO_SPEED_FREQ_LOW;
  HAL_GPIO_Init(OTG_FS_PowerSwitchOn_GPIO_Port, &GPIO_InitStruct);

  /*Configure GPIO pin : PDM_OUT_Pin */
  GPIO_InitStruct.Pin = PDM_OUT_Pin;
  GPIO_InitStruct.Mode = GPIO_MODE_AF_PP;
  GPIO_InitStruct.Pull = GPIO_NOPULL;
  GPIO_InitStruct.Speed = GPIO_SPEED_FREQ_LOW;
  GPIO_InitStruct.Alternate = GPIO_AF5_SPI2;
  HAL_GPIO_Init(PDM_OUT_GPIO_Port, &GPIO_InitStruct);

  /*Configure GPIO pin : B1_Pin */
  GPIO_InitStruct.Pin = B1_Pin;
  GPIO_InitStruct.Mode = GPIO_MODE_EVT_RISING;
  GPIO_InitStruct.Pull = GPIO_NOPULL;
  HAL_GPIO_Init(B1_GPIO_Port, &GPIO_InitStruct);

  /*Configure GPIO pin : BOOT1_Pin */
  GPIO_InitStruct.Pin = BOOT1_Pin;
  GPIO_InitStruct.Mode = GPIO_MODE_INPUT;
  GPIO_InitStruct.Pull = GPIO_NOPULL;
  HAL_GPIO_Init(BOOT1_GPIO_Port, &GPIO_InitStruct);

  /*Configure GPIO pin : CLK_IN_Pin */
  GPIO_InitStruct.Pin = CLK_IN_Pin;
  GPIO_InitStruct.Mode = GPIO_MODE_AF_PP;
  GPIO_InitStruct.Pull = GPIO_NOPULL;
  GPIO_InitStruct.Speed = GPIO_SPEED_FREQ_LOW;
  GPIO_InitStruct.Alternate = GPIO_AF5_SPI2;
  HAL_GPIO_Init(CLK_IN_GPIO_Port, &GPIO_InitStruct);

  /*Configure GPIO pins : LD4_Pin LD3_Pin LD5_Pin LD6_Pin */
  GPIO_InitStruct.Pin = LD4_Pin|LD3_Pin|LD5_Pin|LD6_Pin;
  GPIO_InitStruct.Mode = GPIO_MODE_OUTPUT_PP;
  GPIO_InitStruct.Pull = GPIO_NOPULL;
  GPIO_InitStruct.Speed = GPIO_SPEED_FREQ_LOW;
  HAL_GPIO_Init(GPIOD, &GPIO_InitStruct);

  /*Configure GPIO pin : PD2 */
  GPIO_InitStruct.Pin = GPIO_PIN_2;
  GPIO_InitStruct.Mode = GPIO_MODE_AF_PP;
  GPIO_InitStruct.Pull = GPIO_NOPULL;
  GPIO_InitStruct.Speed = GPIO_SPEED_FREQ_VERY_HIGH;
  GPIO_InitStruct.Alternate = GPIO_AF8_UART5;
  HAL_GPIO_Init(GPIOD, &GPIO_InitStruct);

  /*Configure GPIO pin : Audio_RST_Pin */
  GPIO_InitStruct.Pin = Audio_RST_Pin;
  GPIO_InitStruct.Mode = GPIO_MODE_OUTPUT_PP;
  GPIO_InitStruct.Pull = GPIO_PULLUP;
  GPIO_InitStruct.Speed = GPIO_SPEED_FREQ_LOW;
  HAL_GPIO_Init(Audio_RST_GPIO_Port, &GPIO_InitStruct);

  /*Configure GPIO pin : OTG_FS_OverCurrent_Pin */
  GPIO_InitStruct.Pin = OTG_FS_OverCurrent_Pin;
  GPIO_InitStruct.Mode = GPIO_MODE_INPUT;
  GPIO_InitStruct.Pull = GPIO_NOPULL;
  HAL_GPIO_Init(OTG_FS_OverCurrent_GPIO_Port, &GPIO_InitStruct);

  /*Configure GPIO pin : MEMS_INT2_Pin */
  GPIO_InitStruct.Pin = MEMS_INT2_Pin;
  GPIO_InitStruct.Mode = GPIO_MODE_EVT_RISING;
  GPIO_InitStruct.Pull = GPIO_NOPULL;
  HAL_GPIO_Init(MEMS_INT2_GPIO_Port, &GPIO_InitStruct);

}

/* USER CODE BEGIN 4 */
int _write(int file, char *ptr, int len) {
	int DataIdx;
	for (DataIdx =0; DataIdx < len; DataIdx++) {
		ITM_SendChar(*ptr++);
	}
}
/* USER CODE END 4 */

void Error_Handler(void)
{
  __disable_irq();
  while (1)
  {
  }
}
